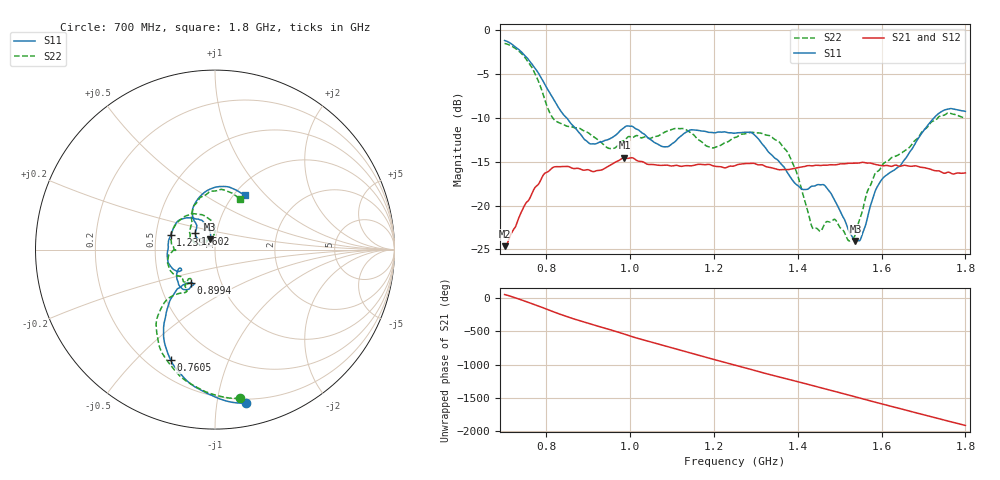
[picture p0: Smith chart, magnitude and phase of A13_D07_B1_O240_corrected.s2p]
! Created with skrf 1.9.0 (http://scikit-rf.org).
# Hz S RI R 50.0
!freq ReS11 ImS11 ReS21 ImS21 ReS12 ImS12 ReS22 ImS22
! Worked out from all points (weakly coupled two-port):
!   1601 points, 700 MHz to 1.8 GHz, reference 50 ohm
!   highest |S21| = -14.52 dB at 986 MHz (marker M1); lowest = -24.6 dB at 700.7 MHz (marker M2)
!   lowest |S11| = -24.0 dB at 1.537 GHz (marker M3), VSWR 1.13, Z = 47 + j5.31 ohm
!   |S11| at or under -10 dB: 848.1 MHz to 1.725 GHz (877 MHz wide, 68.2 % of centre)
!   |S22| runs from -24.0 to -1.5 dB; largest |S21 - S12| = 0.0036
!   S11 on the Smith chart (normalised r, x): 700 MHz: 0.17, -1.21; 760.5 MHz: 0.29, -0.64; 899.4 MHz: 0.72, -0.28; 1.239 GHz: 0.60, +0.10; 1.602 GHz: 0.79, +0.15; 1.8 GHz: 1.12, +0.77
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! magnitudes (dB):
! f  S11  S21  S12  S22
! 700 MHz  -1.2  -24.6  -24.4  -1.5
! 700.7 MHz  -1.2  -24.6  -24.3  -1.5
! 760.5 MHz  -3.6  -19.1  -19.0  -3.9
! 816.2 MHz  -7.8  -15.6  -15.7  -10.1
! 883.6 MHz  -12.0  -15.9  -15.8  -11.3
! 899.4 MHz  -12.8  -15.9  -16.0  -11.7
! 950.2 MHz  -12.4  -15.4  -15.5  -13.5
! 986 MHz  -11.1  -14.5  -14.6  -12.6
! 1.067 GHz  -13.0  -15.4  -15.4  -12.0
! 1.239 GHz  -11.7  -15.5  -15.6  -12.5
! 1.25 GHz  -11.7  -15.4  -15.4  -12.2
! 1.292 GHz  -11.8  -15.2  -15.2  -11.6
! 1.358 GHz  -15.1  -15.9  -15.9  -12.9
! 1.395 GHz  -17.5  -15.7  -15.7  -16.0
! 1.434 GHz  -17.8  -15.5  -15.4  -22.4
! 1.471 GHz  -18.1  -15.4  -15.4  -21.8
! 1.537 GHz  -24.0  -15.2  -15.2  -23.3
! 1.568 GHz  -21.1  -15.2  -15.1  -18.2
! 1.602 GHz  -16.9  -15.5  -15.4  -15.4
! 1.617 GHz  -16.3  -15.5  -15.4  -14.9
! 1.735 GHz  -9.5  -16.0  -16.1  -10.0
! 1.8 GHz  -9.3  -16.3  -16.3  -10.1
